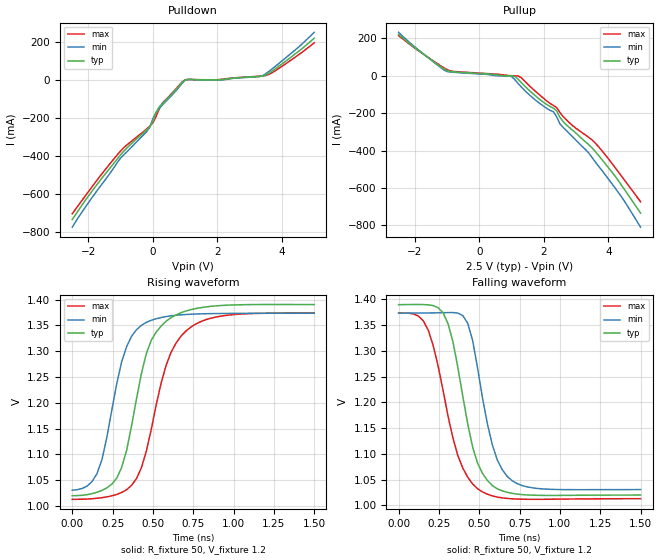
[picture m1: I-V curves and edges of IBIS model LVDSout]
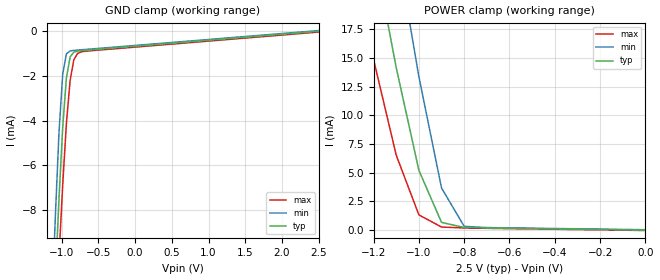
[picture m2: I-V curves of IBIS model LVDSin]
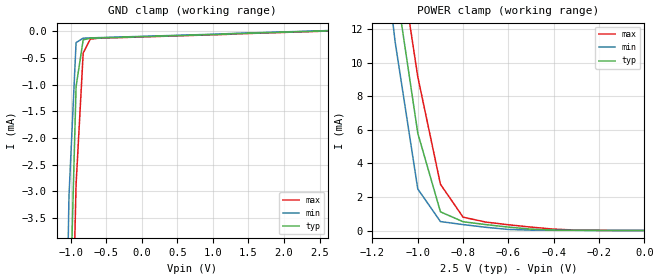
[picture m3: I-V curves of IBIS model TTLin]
|   Micrel Semiconductor
|   IBIS Model of 89832u
|   in a pm_MLF16 Package
[IBIS ver]   2.1
[File name]   89832u.ibs
[File Rev]   0.0
[Date]   Tue Dec 12 18:08:18 PST 2006
[Source]   Spectres simulation results
   Based on ibisTOP_SA898320B_rev1 in sc00p00sa898320b
[Notes]   Model created by solorzanoj.
[Disclaimer]
|C) Copyright Micrel, Inc. 2006
|   All rights reserved
|  Micrel, Inc. hereby grants the user of this IBIS model a non-exclusive,
|  nontransferable license to use this IBIS model under the following terms.
|  If the user does not accept these terms, the IBIS model should be returned
|  to Micrel within 30 days.
|  The user is granted only a license to use the IBIS model. No other rights
|  are granted to the user in whole or in part. User may not sell, lease, or
|  grant further licenses to the IBIS model. User may modify the IBIS model
|  to suit its specific applications but rights to derivative works and such
|  modifications shall belong to Micrel.
|  This IBIS model is provided on an "AS IS" basis and Micrel makes no warranty
|  with respect to the functionality of the model. MICREL DISCLAIMS AND CUSTOMER
|  WAIVES ALL WARRANTIES, EXPRESS OR IMPLIED, INCLUDING WARRANTIES OF
|  MERCHANTABILITY OR FITNESS FOR A PARTICULAR PURPOSE.  The customer assumes
|  the entire risk as to quality and performance of the IBIS model. ACCORDINGLY,
|  IN NO EVENT SHALL MICREL BE LIABLE FOR ANY DAMAGES, WHETHER IN CONTRACT OR
|  TORT, INCLUDING ANY LOST PROFITS OR OTHER INCIDENTAL, CONSEQUENTIAL,
|  EXEMPLARY, OR PUNITIVE DAMAGES ARISING OUT OF THE USE OR APPLICATION OF THE
|  IBIS model provided in this package. Further, Micrel reserves the right to
|  make changes to the IBIS model without notice to the Customer. Micrel does
|  not convey any license under patent rights or any other intellectual
|  property rights, including those of third parties.
|  Micrel is not obligated to provide maintenance or support for the licensed
|  IBIS model.
[Copyright]   2006 Micrel Semiconductor
|   Component 89832u
[Component]   89832u
[Manufacturer]   Micrel Semiconductor
[Package]
| variable   typ   min   max
R_pkg   39.47m   39.47m   39.47m
L_pkg   0.771nH   0.771nH   0.771nH
C_pkg   0.221pF   0.221pF   0.221pF
[Pin]  signal_name   model_name   R_pin   L_pin   C_pin
1   Q1   LVDSout
2   /Q1   LVDSout
3   Q2   LVDSout
4   /Q2   LVDSout
5   Q3   LVDSout
6   /Q3   LVDSout
7   VCC   POWER
8   EN   TTLin
9   /IN   LVDSin
10   VREF-AC   NC
11   VT   NC
12   IN   LVDSin
13   GND   GND
14   VCC   POWER
15   Q0   LVDSout
16   /Q0   LVDSout
[Diff Pin]  inv_pin  vdiff   tdelay_typ  tdelay_min  tdelay_max
|Diff_pin = pin # on the package for output
|inv_pin  = pin # on the package for output inverted
1   2   0.000V   NA
3   4   0.000V   NA
5   6   0.000V   NA
12   9   0.000V   NA
15   16   0.000V   NA
| Models and submodels in the file (3): LVDSout (Output), LVDSin (Input), TTLin (Input)
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|   Model LVDSout
[Model]   LVDSout
Model_type   Output
Polarity   Non-Inverting
C_comp 0.135pF   0.135pF   0.135pF
[Temperature Range] 25 -40 85
[Voltage Range]  2.5 2.375 2.625
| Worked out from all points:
|   slope of the pulldown table from 0 to 0.375 V, typ, clamps not added: 3.53 ohm
|   slope of the pullup table from 0 to 0.375 V, typ, clamps not added: 102 ohm
|   rising waveform, R_fixture 50, V_fixture 1.2: 20-80 % time 160ps typ, 142ps min, 180ps max; typ from 1.02 V to 1.39 V
|   falling waveform, R_fixture 50, V_fixture 1.2: 20-80 % time 140ps typ, 133ps min, 161ps max; typ from 1.39 V to 1.02 V
[Pulldown]
| voltage   I(typ)   I(min)   I(max)
-2.5V     -733.3mA   -773.3mA   -702.7mA
-1.9V     -586.3mA   -620.6mA   -563.5mA
-1V       -391.8mA   -409mA     -371.6mA
-200mV    -263.1mA   -271.8mA   -256.8mA
-100mV    -245.7mA   -247.5mA   -241.1mA
0V        -214.5mA   -200.9mA   -223.1mA
200mV     -138.1mA   -147.9mA   -148.3mA
300mV     -120.6mA   -128.1mA   -118.8mA
1V        2.7mA      1.312mA    3.415mA
3.4V      22.84mA    24.82mA    23.38mA
3.8V      62.1mA     75.26mA    51.83mA
5V        222.6mA    253.4mA    198.3mA
[Pullup]
| voltage   I(typ)   I(min)   I(max)
-2.5V     222.6mA    233mA      215.3mA
-1V       28.47mA    22.93mA    33.97mA
1V        150uA      -3.245mA   825.2uA
1.3V      -35.6mA    -58.9mA    -9.447mA
1.8V      -115.2mA   -137.5mA   -91.43mA
2.3V      -172.6mA   -192.1mA   -158.6mA
2.4V      -187.7mA   -219.8mA   -169.9mA
2.5V      -222.3mA   -256.6mA   -196.1mA
2.9V      -292mA     -327.3mA   -267.2mA
3.5V      -386.2mA   -437.7mA   -343.2mA
4.4V      -582.9mA   -645.3mA   -534.2mA
5V        -734.4mA   -809.4mA   -674mA
[Ramp]
| variable   typ   min   max
dV/dt_r   0.222/158.32p   0.205/140.27p   0.216/179.38p
dV/dt_f   0.222/138.27p   0.206/130.49p   0.216/159.11p
R_load = 50
[Rising Waveform]
R_fixture = 50
V_fixture = 1.2
V_fixture_min = 1.2
V_fixture_max = 1.2
| time   V(typ)   V(min)   V(max)
0s        1.02V      1.031V     1.013V
153ps     1.027V     1.063V     1.015V
276ps     1.054V     1.237V     1.023V
337ps     1.108V     1.309V     1.032V
429ps     1.257V     1.35V      1.075V
490ps     1.321V     1.36V      1.149V
582ps     1.358V     1.367V     1.273V
704ps     1.378V     1.371V     1.339V
949ps     1.389V     1.373V     1.369V
1.5ns     1.39V      1.373V     1.374V
[Falling Waveform]
R_fixture = 50
V_fixture = 1.2
V_fixture_min = 1.2
V_fixture_max = 1.2
| time   V(typ)   V(min)   V(max)
0s        1.39V      1.373V     1.374V
153ps     1.39V      1.374V     1.358V
214ps     1.388V     1.374V     1.311V
276ps     1.374V     1.374V     1.223V
337ps     1.318V     1.375V     1.131V
429ps     1.157V     1.353V     1.055V
490ps     1.082V     1.266V     1.032V
582ps     1.038V     1.117V     1.018V
704ps     1.023V     1.048V     1.013V
1.5ns     1.02V      1.031V     1.013V
|   Model LVDSin
[Model]   LVDSin
Model_type   Input
Vinl =   1.075V
Vinh =   1.325V
C_comp 0.135pF   0.135pF   0.135pF
[Temperature Range] 25 -40 85
[Voltage Range]  2.5 2.375 2.625
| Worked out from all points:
|   GND clamp passes 1 mA (typ) near -0.85 V on its own axis
|   POWER clamp passes 1 mA (typ) near -0.91 V on its own axis
[GND_clamp]
| voltage   I(typ)   I(min)   I(max)
-2.5V     -144.3mA   -156.6mA   -135.2mA
-1.136V   -15.3mA    -12.76mA   -17.49mA
-1.086V   -11.24mA   -8.361mA   -13.71mA
-1.035V   -7.499mA   -4.536mA   -10.13mA
-984.8mV  -4.301mA   -1.91mA    -6.871mA
-934.3mV  -2.085mA   -1.008mA   -4.12mA
-883.8mV  -1.148mA   -879.6uA   -2.197mA
-833.3mV  -932.1uA   -856.3uA   -1.275mA
-782.8mV  -887.4uA   -842uA     -993.3uA
-732.3mV  -869.5uA   -828.5uA   -920.9uA
2.5V      1.303uA    34.53uA    -32.4uA
[POWER_clamp]
| voltage   I(typ)   I(min)   I(max)
-2.5V     177mA      206mA      153mA
-1.3V     35.57mA    49.72mA    24.4mA
-1.2V     24.57mA    37.21mA    14.87mA
-1.1V     14.16mA    24.98mA    6.532mA
-1V       5.212mA    13.37mA    1.329mA
-900mV    673uA      3.671mA    268uA
-800mV    226uA      329uA      186uA
-700mV    190uA      222uA      157uA
0V        1uA        35uA       -32uA
|   Model TTLin
[Model]   TTLin
Model_type   Input
Vinl =   0.8V
Vinh =   2.0V
C_comp   0.135pF   0.135pF   0.135pF
[Temperature Range] 25 -40 85
[Voltage Range]  2.5 2.375 2.625
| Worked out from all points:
|   GND clamp passes 1 mA (typ) near -0.92 V on its own axis
|   POWER clamp passes 1 mA (typ) near -0.88 V on its own axis
[GND_clamp]
| voltage   I(typ)   I(min)   I(max)
-2.625V   -155.3mA   -169.1mA   -145.1mA
-1.125V   -13.54mA   -10.94mA   -15.76mA
-1.025V   -5.981mA   -3.099mA   -8.597mA
-925mV    -1.037mA   -211.6uA   -2.875mA
-825mV    -159.4uA   -127.6uA   -406.1uA
-725mV    -129.6uA   -123.1uA   -146.2uA
-625mV    -125.1uA   -119.1uA   -131.1uA
2.625V    10.13uA    14.68uA    5.227uA
[POWER_clamp]
| voltage   I(typ)   I(min)   I(max)
-3.3V     276.4mA    298.2mA    259.7mA
-1.2V     25.45mA    22.71mA    27.89mA
-1.1V     14.89mA    11.24mA    18.05mA
-1V       5.8mA      2.48mA     9.16mA
-900mV    1.12mA     540uA      2.76mA
-800mV    530uA      360uA      800uA
-700mV    360uA      200uA      510uA
-600mV    210uA      70uA       350uA
-400mV    30uA       20uA       90uA
-300mV    20uA       20uA       30uA
0V        10uA       10uA       10uA
